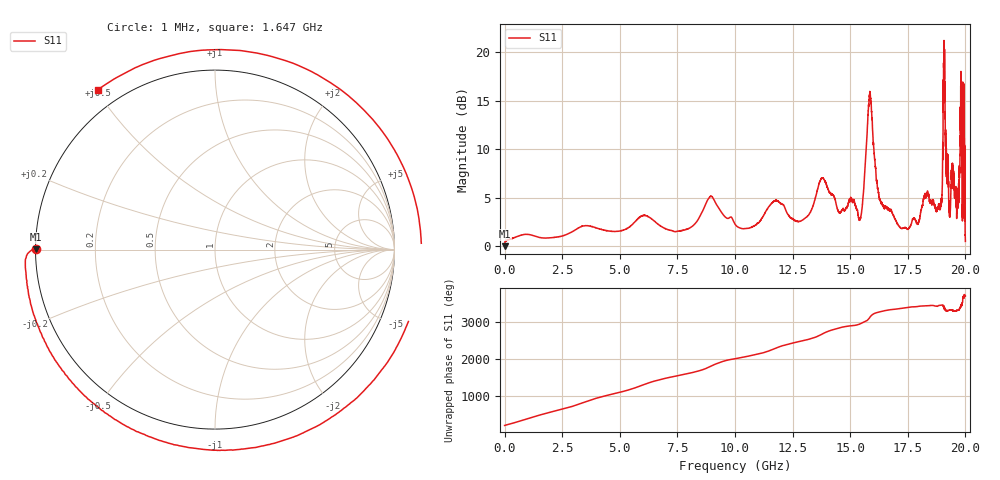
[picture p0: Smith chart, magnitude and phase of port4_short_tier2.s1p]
! Created with skrf 1.8.0 (http://scikit-rf.org).
# GHz S RI R 50.0
!freq ReS11 ImS11
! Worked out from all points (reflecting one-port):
!   10001 points, 1 MHz to 20 GHz, reference 50 ohm
!   lowest |S11| = 0.0 dB at 1 MHz (marker M1)
!   phase of S11 starts at 180 deg and turns +3545 deg over the sweep
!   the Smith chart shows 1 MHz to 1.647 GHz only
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0.001  -1 0.000578
2.500875  -0.1111 -1.122
3.41083  0.1168 1.265
4.284786  -0.2578 -1.184
5.00075  1.184 0.1682
5.868707  -1.411 0.087
6.680666  1.252 -0.322
7.500625  -0.2282 1.172
8.270587  -1.164 -0.5956
8.954552  1.807 0.0853
10.0005  -1.163 -0.5789
11.61442  -0.1441 1.67
12.50038  0.1543 -1.375
13.25834  1.302 0.7234
13.84231  -2.228 -0.0967
14.20229  0.1063 -1.842
15.00025  1.501 0.7842
15.63022  -1.811 1.559
15.75821  -4.332 -0.4487
15.87621  1.131 -5.753
15.9862  3.577 -1.037
16.22419  1.396 1.253
17.50013  -1.213 0.1696
18.96805  -0.9269 -1.412
19.17004  0.1235 2.505
19.55002  0.3509 1.747
19.78201  -4.435 0.0269
20  -0.6131 0.8626
